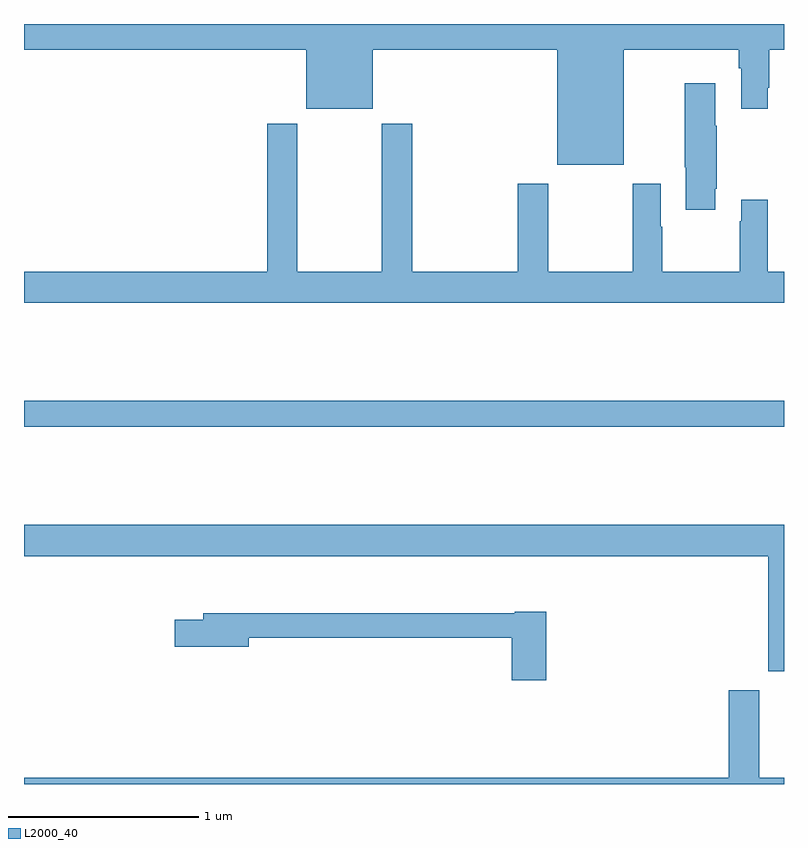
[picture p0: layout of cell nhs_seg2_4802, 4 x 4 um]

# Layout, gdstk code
import gdstk
lib = gdstk.Library(unit=1e-6, precision=1e-09)
def R(c, l, rs):  # rectangles x0, y0, x1, y1
    for r in rs: c.add(gdstk.rectangle(r[:2], r[2:], *l))
def P(c, l, *ps):  # polygons
    for p in ps: c.add(gdstk.Polygon(p, *l))
L2000_40 = (2000, 40)

nhs_seg2_4802 = lib.new_cell('nhs_seg2_4802')
R(nhs_seg2_4802, L2000_40, [(373,617.68,377,617.816)])
P(nhs_seg2_4802, L2000_40, [(373,619.664),(374.486,619.664),(374.486,619.355),(374.836,619.355),(374.836,619.664),(375.806,619.664),(375.806,619.058),(376.156,619.058),(376.156,619.664),(376.763,619.664),(376.763,619.568),(376.775,619.568),(376.775,619.353),(376.915,619.353),(376.915,619.465),(376.923,619.465),(376.923,619.664),(377,619.664),(377,619.8),(373,619.8)],
  [(376.639,618.934),(376.647,618.934),(376.647,619.265),(376.639,619.265),(376.639,619.489),(376.477,619.489),(376.477,619.045),(376.484,619.045),(376.484,618.822),(376.639,618.822)],
  [(377,618.496),(376.915,618.496),(376.915,618.874),(376.775,618.874),(376.775,618.761),(376.768,618.761),(376.768,618.496),(376.359,618.496),(376.359,618.734),(376.351,618.734),(376.351,618.958),(376.204,618.958),(376.204,618.496),(375.759,618.496),(375.759,618.958),(375.599,618.958),(375.599,618.496),(375.044,618.496),(375.044,619.276),(374.884,619.276),(374.884,618.496),(374.439,618.496),(374.439,619.276),(374.279,619.276),(374.279,618.496),(373,618.496),(373,618.332),(377,618.332)],
  [(377,617.164),(373,617.164),(373,617),(376.916,617),(376.916,616.394),(377,616.394)],
  [(375.749,616.707),(375.582,616.707),(375.582,616.699),(373.943,616.699),(373.943,616.665),(373.794,616.665),(373.794,616.523),(374.182,616.523),(374.182,616.57),(375.566,616.57),(375.566,616.347),(375.749,616.347)],
  [(377,615.832),(376.869,615.832),(376.869,616.294),(376.709,616.294),(376.709,615.832),(373,615.832),(373,615.8),(377,615.8)])

lib.write_gds('nhs_seg2_4802.gds')
